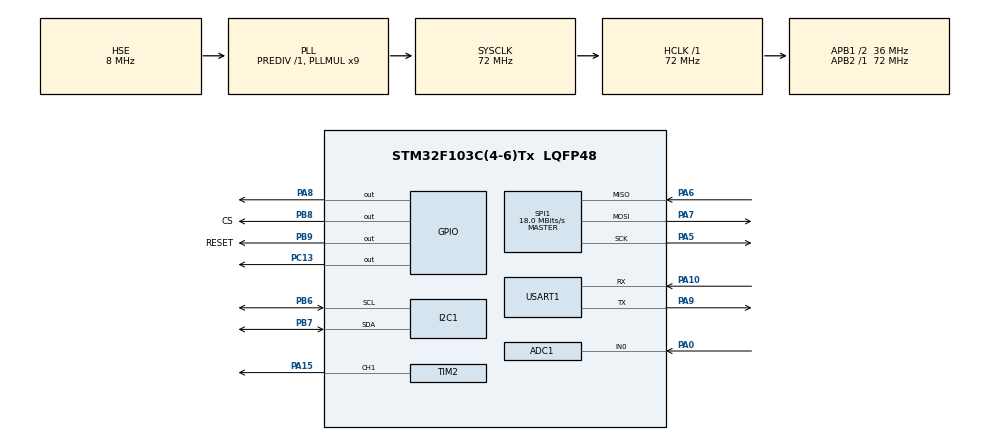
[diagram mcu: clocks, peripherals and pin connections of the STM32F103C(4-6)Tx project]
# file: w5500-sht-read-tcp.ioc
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ADC1.Channel-15\#ChannelRegularConversion=ADC_CHANNEL_0
ADC1.NbrOfConversionFlag=1
ADC1.Rank-15\#ChannelRegularConversion=1
ADC1.SamplingTime-15\#ChannelRegularConversion=ADC_SAMPLETIME_1CYCLE_5
ADC1.master=1
Mcu.Family=STM32F1
Mcu.Name=STM32F103C(4-6)Tx
Mcu.Package=LQFP48
NVIC.PriorityGroup=NVIC_PRIORITYGROUP_4
PA0-WKUP.Signal=ADCx_IN0
PA10.Mode=Asynchronous
PA10.Signal=USART1_RX
PA13.Mode=Serial_Wire
PA13.Signal=SYS_JTMS-SWDIO
PA14.Mode=Serial_Wire
PA14.Signal=SYS_JTCK-SWCLK
PA15.Signal=S_TIM2_CH1_ETR
PA5.Mode=Full_Duplex_Master
PA5.Signal=SPI1_SCK
PA6.Mode=Full_Duplex_Master
PA6.Signal=SPI1_MISO
PA7.Mode=Full_Duplex_Master
PA7.Signal=SPI1_MOSI
PA8.Signal=GPIO_Output
PA9.Mode=Asynchronous
PA9.Signal=USART1_TX
PB6.Mode=I2C
PB6.Signal=I2C1_SCL
PB7.Mode=I2C
PB7.Signal=I2C1_SDA
PB8.GPIO_Label=CS
PB8.GPIO_Speed=GPIO_SPEED_FREQ_HIGH
PB8.PinState=GPIO_PIN_SET
PB8.Signal=GPIO_Output
PB9.GPIO_Label=RESET
PB9.GPIO_Speed=GPIO_SPEED_FREQ_HIGH
PB9.PinState=GPIO_PIN_SET
PB9.Signal=GPIO_Output
PC13-TAMPER-RTC.Signal=GPIO_Output
PC14-OSC32_IN.Mode=LSE-External-Oscillator
PC14-OSC32_IN.Signal=RCC_OSC32_IN
PC15-OSC32_OUT.Mode=LSE-External-Oscillator
PC15-OSC32_OUT.Signal=RCC_OSC32_OUT
PD0-OSC_IN.Mode=HSE-External-Oscillator
PD0-OSC_IN.Signal=RCC_OSC_IN
PD1-OSC_OUT.Mode=HSE-External-Oscillator
PD1-OSC_OUT.Signal=RCC_OSC_OUT
ProjectManager.HeapSize=0x200
ProjectManager.StackSize=0x400
ProjectManager.TargetToolchain=STM32CubeIDE
RCC.ADCPresc=RCC_ADCPCLK2_DIV6
RCC.AHBFreq_Value=72000000
RCC.APB1CLKDivider=RCC_HCLK_DIV2
RCC.APB1Freq_Value=36000000
RCC.APB1TimFreq_Value=72000000
RCC.APB2Freq_Value=72000000
RCC.APB2TimFreq_Value=72000000
RCC.HCLKFreq_Value=72000000
RCC.PLLMUL=RCC_PLL_MUL9
RCC.PLLSourceVirtual=RCC_PLLSOURCE_HSE
RCC.SYSCLKFreq_VALUE=72000000
RCC.SYSCLKSource=RCC_SYSCLKSOURCE_PLLCLK
RCC.USBFreq_Value=72000000
SH.ADCx_IN0.0=ADC1_IN0,IN0
SH.S_TIM2_CH1_ETR.0=TIM2_CH1,PWM Generation1 CH1
SPI1.BaudRatePrescaler=SPI_BAUDRATEPRESCALER_4
SPI1.CalculateBaudRate=18.0 MBits/s
SPI1.Direction=SPI_DIRECTION_2LINES
SPI1.Mode=SPI_MODE_MASTER
SPI1.VirtualType=VM_MASTER
TIM2.Channel-PWM\ Generation1\ CH1=TIM_CHANNEL_1
USART1.VirtualMode=VM_ASYNC
VP_TIM2_VS_ClockSourceINT.Mode=Internal
board=custom

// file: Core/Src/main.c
/* USER CODE BEGIN Header */
/**
  ******************************************************************************
  * @file           : main.c
  * @brief          : Main program body
  ******************************************************************************
  */
/* USER CODE END Header */

#include "main.h"
#include "wizchip_port.h"
#include "MQTT_Example.h"

#include <stdio.h>
#include <string.h>

/* USER CODE BEGIN PD */

#define RF_DATA_Pin               GPIO_PIN_8
#define RF_DATA_GPIO_Port         GPIOA

#define RF_BIT_US                 300
#define RF_PAUSE_US               10836
#define RF_FRAME_COUNT            5

#define TOPIC_CMD                 "WO/08/mezanin/micro/pintu_depan/cmnd/power"
#define TOPIC_IP                  "WO/08/mezanin/micro/pintu_depan/IP"
#define TOPIC_LWT                 "WO/08/mezanin/micro/pintu_depan/availability"

/* USER CODE END PD */

ADC_HandleTypeDef hadc1;
I2C_HandleTypeDef hi2c1;
SPI_HandleTypeDef hspi1;
TIM_HandleTypeDef htim2;
UART_HandleTypeDef huart1;

/* USER CODE BEGIN PV */

/*
 * RF CODE A
 */
static const char *RF_CODE_A[RF_FRAME_COUNT] =
{
    "110111010001000111011101000111010001000100011101110100011101110111011101101000100010001000111010",

    "110111010001000111011101000111010001000100011101110100011101110111011101101000100010001000111010",

    "110111010001000111011101000111010001000100011101110100011101110111011101101000100010001000111010",

    "110111010001000111011101000111010001000100011101110100011101110111011101101000100010001000111010",

    "110111010001000111011101000111010001000100011101110100011101110111011101101000100010001000111010"
};

/*
 * RF CODE B
 */
static const char *RF_CODE_B[RF_FRAME_COUNT] =
{
    "1110111010001000111011101000111010001000100011101110100011101110111011101110100010001000111010001",

    "1110111010001000111011101000111010001000100011101110100011101110111011101110100010001000111010001",

    "1110111010001000111011101000111010001000100011101110100011101110111011101110100010001000111010001",

    "1110111010001000111011101000111010001000100011101110100011101110111011101110100010001000111010001",

    "1110111010001000111011101000111010001000100011101110100011101110111011101110100010001000111010001"
};

/* USER CODE END PV */

void SystemClock_Config(void);

static void MX_GPIO_Init(void);
static void MX_USART1_UART_Init(void);
static void MX_ADC1_Init(void);
static void MX_TIM2_Init(void);
static void MX_SPI1_Init(void);
static void MX_I2C1_Init(void);

/* USER CODE BEGIN PFP */

static void DWT_Delay_Init(void);
static void DWT_Delay_us(uint32_t us);

static void RF_SendBit(uint8_t bit);
static void RF_SendPattern(const char *pattern);

void RF_SendA(void);
void RF_SendB(void);

void RF_ProcessCommand(
    const char *topic,
    const char *payload
);

void led_Control(int state);

/* USER CODE END PFP */

/* USER CODE BEGIN 0 */

/*
 * DWT delay initialization
 */
static void DWT_Delay_Init(void)
{
    CoreDebug->DEMCR |=
        CoreDebug_DEMCR_TRCENA_Msk;

    DWT->CYCCNT = 0;

    DWT->CTRL |=
        DWT_CTRL_CYCCNTENA_Msk;
}

/*
 * Microsecond delay
 */
static void DWT_Delay_us(uint32_t us)
{
    uint32_t start =
        DWT->CYCCNT;

    uint32_t cycles =
        us *
        (HAL_RCC_GetHCLKFreq() / 1000000U);

    while (
        (DWT->CYCCNT - start) <
        cycles
    )
    {
    }
}

/*
 * RF send bit
 */
static void RF_SendBit(uint8_t bit)
{
    if (bit)
    {
        RF_DATA_GPIO_Port->BSRR =
            RF_DATA_Pin;
    }
    else
    {
        RF_DATA_GPIO_Port->BRR =
            RF_DATA_Pin;
    }

    DWT_Delay_us(
        RF_BIT_US
    );
}

/*
 * RF send pattern
 */
static void RF_SendPattern(
    const char *pattern
)
{
    while (*pattern)
    {
        RF_SendBit(
            *pattern == '1'
        );

        pattern++;
    }

    RF_DATA_GPIO_Port->BRR =
        RF_DATA_Pin;

    DWT_Delay_us(
        RF_PAUSE_US
    );
}

/*
 * Send RF CODE A
 */
void RF_SendA(void)
{
    printf(
        "RF: Sending CODE A\r\n"
    );

    for (
        uint8_t i = 0;
        i < RF_FRAME_COUNT;
        i++
    )
    {
        RF_SendPattern(
            RF_CODE_A[i]
        );
    }

    RF_DATA_GPIO_Port->BRR =
        RF_DATA_Pin;

    printf(
        "RF: CODE A complete\r\n"
    );

    HAL_GPIO_TogglePin(
        GPIOC,
        GPIO_PIN_13
    );
}

/*
 * Send RF CODE B
 */
void RF_SendB(void)
{
    printf(
        "RF: Sending CODE B\r\n"
    );

    for (
        uint8_t i = 0;
        i < RF_FRAME_COUNT;
        i++
    )
    {
        RF_SendPattern(
            RF_CODE_B[i]
        );
    }

    RF_DATA_GPIO_Port->BRR =
        RF_DATA_Pin;

    printf(
        "RF: CODE B complete\r\n"
    );
}

/*
 * Process MQTT command
 *
 * WO/08/Door/cmd
 *
 * Payload:
 *
 * 1 = RF CODE A
 * 0 = RF CODE B
 */
void RF_ProcessCommand(
    const char *topic,
    const char *payload
)
{
    printf(
        "RF COMMAND\r\n"
    );

    printf(
        "Topic   : %s\r\n",
        topic
    );

    printf(
        "Payload : %s\r\n",
        payload
    );

    if (
        strcmp(
            payload,
            "on"
        ) == 0
    )
    {
        RF_SendA();

        return;
    }

    if (
        strcmp(
            payload,
            "off"
        ) == 0
    )
    {
        RF_SendB();

        return;
    }

    printf(
        "RF: Invalid command\r\n"
    );
}

/*
 * LED control
 *
 * PC13 active LOW
 */
void led_Control(int state)
{
    if (state)
    {
        HAL_GPIO_WritePin(
            GPIOC,
            GPIO_PIN_13,
            GPIO_PIN_RESET
        );
    }
    else
    {
        HAL_GPIO_WritePin(
            GPIOC,
            GPIO_PIN_13,
            GPIO_PIN_SET
        );
    }
}

/* USER CODE END 0 */

int main(void)
{

    /* MCU Configuration--------------------------------------------------------*/

    HAL_Init();

    SystemClock_Config();

    /* Initialize all configured peripherals */

    MX_GPIO_Init();

    MX_USART1_UART_Init();

    MX_ADC1_Init();

    MX_TIM2_Init();

    MX_SPI1_Init();

    MX_I2C1_Init();

    /* USER CODE BEGIN 2 */

    printf(
        "\r\n================================\r\n"
    );

    printf(
        " STM32F103 MQTT + RF SYSTEM\r\n"
    );

    printf(
        "================================\r\n"
    );

    /*
     * Start TIM2 PWM
     */
    HAL_TIM_PWM_Start(
        &htim2,
        TIM_CHANNEL_1
    );

    /*
     * ADC calibration
     */
    HAL_ADCEx_Calibration_Start(
        &hadc1
    );

    /*
     * Initialize DWT
     */
    DWT_Delay_Init();

    /*
     * RF output LOW
     */
    HAL_GPIO_WritePin(
        RF_DATA_GPIO_Port,
        RF_DATA_Pin,
        GPIO_PIN_RESET
    );

    /*
     * Initialize W5500
     */
    printf(
        "W5500: Initializing...\r\n"
    );

    W5500_Init();

    printf(
        "W5500: Initialization complete\r\n"
    );

    /*
     * Initialize MQTT TCP connection
     */
    if (
        mqtt_network_init() != 0
    )
    {
        printf(
            "MQTT: Network initialization failed\r\n"
        );
    }
    else
    {
        /*
         * Connect MQTT broker
         */
        if (
            mqtt_connect_broker() == 0
        )
        {
            /*
             * Subscribe CMD FIRST
             */
            if (
                mqtt_subscribe(
                    TOPIC_CMD
                ) == 0
            )
            {
                printf(
                    "MQTT: CMD subscription OK\r\n"
                );

                /*
                 * Publish STM32 IP
                 */
                mqtt_publish_ip(
                    TOPIC_IP
                );

                /*
                 * Give broker time to finish subscribe
                 */
                HAL_Delay(100);

                /*
                 * Automatic test command
                 *
                 * 1 = RF CODE A
                 *
                 * This is NOT retained.
                 */
                printf(
                    "MQTT: Publishing automatic CMD = 1\r\n"
                );

                mqtt_publish(
                    TOPIC_CMD,
                    "1"
                );
            }
            else
            {
                printf(
                    "MQTT: CMD subscription FAILED\r\n"
                );
            }

            printf(
                "MQTT: System ready\r\n"
            );
        }
        else
        {
            printf(
                "MQTT: Broker connection failed\r\n"
            );
        }
    }

    /* USER CODE END 2 */

    /* Infinite loop */

    /* USER CODE BEGIN WHILE */

    while (1)
    {
        /*
         * MQTT processing
         */
        mqtt_yield();

        /*
         * Small delay
         */
        HAL_Delay(10);

        /* USER CODE END WHILE */

    }
}

void SystemClock_Config(void)
{
    RCC_OscInitTypeDef RCC_OscInitStruct =
        {0};

    RCC_ClkInitTypeDef RCC_ClkInitStruct =
        {0};

    RCC_PeriphCLKInitTypeDef PeriphClkInit =
        {0};

    /*
     * Initializes the RCC Oscillators
     */
    RCC_OscInitStruct.OscillatorType =
        RCC_OSCILLATORTYPE_HSE;

    RCC_OscInitStruct.HSEState =
        RCC_HSE_ON;

    RCC_OscInitStruct.HSEPredivValue =
        RCC_HSE_PREDIV_DIV1;

    RCC_OscInitStruct.HSIState =
        RCC_HSI_ON;

    RCC_OscInitStruct.PLL.PLLState =
        RCC_PLL_ON;

    RCC_OscInitStruct.PLL.PLLSource =
        RCC_PLLSOURCE_HSE;

    RCC_OscInitStruct.PLL.PLLMUL =
        RCC_PLL_MUL9;

    if (
        HAL_RCC_OscConfig(
            &RCC_OscInitStruct
        ) != HAL_OK
    )
    {
        Error_Handler();
    }

    /*
     * Initializes the CPU, AHB and APB buses
     */
    RCC_ClkInitStruct.ClockType =
        RCC_CLOCKTYPE_HCLK |
        RCC_CLOCKTYPE_SYSCLK |
        RCC_CLOCKTYPE_PCLK1 |
        RCC_CLOCKTYPE_PCLK2;

    RCC_ClkInitStruct.SYSCLKSource =
        RCC_SYSCLKSOURCE_PLLCLK;

    RCC_ClkInitStruct.AHBCLKDivider =
        RCC_SYSCLK_DIV1;

    RCC_ClkInitStruct.APB1CLKDivider =
        RCC_HCLK_DIV2;

    RCC_ClkInitStruct.APB2CLKDivider =
        RCC_HCLK_DIV1;

    if (
        HAL_RCC_ClockConfig(
            &RCC_ClkInitStruct,
            FLASH_LATENCY_2
        ) != HAL_OK
    )
    {
        Error_Handler();
    }

    PeriphClkInit.PeriphClockSelection =
        RCC_PERIPHCLK_ADC;

    PeriphClkInit.AdcClockSelection =
        RCC_ADCPCLK2_DIV6;

    if (
        HAL_RCCEx_PeriphCLKConfig(
            &PeriphClkInit
        ) != HAL_OK
    )
    {
        Error_Handler();
    }
}

static void MX_ADC1_Init(void)
{
    ADC_ChannelConfTypeDef sConfig =
        {0};

    hadc1.Instance =
        ADC1;

    hadc1.Init.ScanConvMode =
        ADC_SCAN_DISABLE;

    hadc1.Init.ContinuousConvMode =
        DISABLE;

    hadc1.Init.DiscontinuousConvMode =
        DISABLE;

    hadc1.Init.ExternalTrigConv =
        ADC_SOFTWARE_START;

    hadc1.Init.DataAlign =
        ADC_DATAALIGN_RIGHT;

    hadc1.Init.NbrOfConversion =
        1;

    if (
        HAL_ADC_Init(
            &hadc1
        ) != HAL_OK
    )
    {
        Error_Handler();
    }

    sConfig.Channel =
        ADC_CHANNEL_0;

    sConfig.Rank =
        ADC_REGULAR_RANK_1;

    sConfig.SamplingTime =
        ADC_SAMPLETIME_1CYCLE_5;

    if (
        HAL_ADC_ConfigChannel(
            &hadc1,
            &sConfig
        ) != HAL_OK
    )
    {
        Error_Handler();
    }
}

static void MX_I2C1_Init(void)
{
    hi2c1.Instance =
        I2C1;

    hi2c1.Init.ClockSpeed =
        100000;

    hi2c1.Init.DutyCycle =
        I2C_DUTYCYCLE_2;

    hi2c1.Init.OwnAddress1 =
        0;

    hi2c1.Init.AddressingMode =
        I2C_ADDRESSINGMODE_7BIT;

    hi2c1.Init.DualAddressMode =
        I2C_DUALADDRESS_DISABLE;

    hi2c1.Init.OwnAddress2 =
        0;

    hi2c1.Init.GeneralCallMode =
        I2C_GENERALCALL_DISABLE;

    hi2c1.Init.NoStretchMode =
        I2C_NOSTRETCH_DISABLE;

    if (
        HAL_I2C_Init(
            &hi2c1
        ) != HAL_OK
    )
    {
        Error_Handler();
    }
}

static void MX_SPI1_Init(void)
{
    hspi1.Instance =
        SPI1;

    hspi1.Init.Mode =
        SPI_MODE_MASTER;

    hspi1.Init.Direction =
        SPI_DIRECTION_2LINES;

    hspi1.Init.DataSize =
        SPI_DATASIZE_8BIT;

    hspi1.Init.CLKPolarity =
        SPI_POLARITY_LOW;

    hspi1.Init.CLKPhase =
        SPI_PHASE_1EDGE;

    hspi1.Init.NSS =
        SPI_NSS_SOFT;

    hspi1.Init.BaudRatePrescaler =
        SPI_BAUDRATEPRESCALER_4;

    hspi1.Init.FirstBit =
        SPI_FIRSTBIT_MSB;

    hspi1.Init.TIMode =
        SPI_TIMODE_DISABLE;

    hspi1.Init.CRCCalculation =
        SPI_CRCCALCULATION_DISABLE;

    hspi1.Init.CRCPolynomial =
        10;

    if (
        HAL_SPI_Init(
            &hspi1
        ) != HAL_OK
    )
    {
        Error_Handler();
    }
}

static void MX_TIM2_Init(void)
{
    TIM_MasterConfigTypeDef sMasterConfig =
        {0};

    TIM_OC_InitTypeDef sConfigOC =
        {0};

    htim2.Instance =
        TIM2;

    htim2.Init.Prescaler =
        0;

    htim2.Init.CounterMode =
        TIM_COUNTERMODE_UP;

    htim2.Init.Period =
        65535;

    htim2.Init.ClockDivision =
        TIM_CLOCKDIVISION_DIV1;

    htim2.Init.AutoReloadPreload =
        TIM_AUTORELOAD_PRELOAD_DISABLE;

    if (
        HAL_TIM_PWM_Init(
            &htim2
        ) != HAL_OK
    )
    {
        Error_Handler();
    }

    sMasterConfig.MasterOutputTrigger =
        TIM_TRGO_RESET;

    sMasterConfig.MasterSlaveMode =
        TIM_MASTERSLAVEMODE_DISABLE;

    if (
        HAL_TIMEx_MasterConfigSynchronization(
            &htim2,
            &sMasterConfig
        ) != HAL_OK
    )
    {
        Error_Handler();
    }

    sConfigOC.OCMode =
        TIM_OCMODE_PWM1;

    sConfigOC.Pulse =
        0;

    sConfigOC.OCPolarity =
        TIM_OCPOLARITY_HIGH;

    sConfigOC.OCFastMode =
        TIM_OCFAST_DISABLE;

    if (
        HAL_TIM_PWM_ConfigChannel(
            &htim2,
            &sConfigOC,
            TIM_CHANNEL_1
        ) != HAL_OK
		)
    {
        Error_Handler();
    }

    HAL_TIM_MspPostInit(
        &htim2
    );
}

static void MX_USART1_UART_Init(void)
{
    huart1.Instance =
        USART1;

    huart1.Init.BaudRate =
        115200;

    huart1.Init.WordLength =
        UART_WORDLENGTH_8B;

    huart1.Init.StopBits =
        UART_STOPBITS_1;

    huart1.Init.Parity =
        UART_PARITY_NONE;

    huart1.Init.Mode =
        UART_MODE_TX_RX;

    huart1.Init.HwFlowCtl =
        UART_HWCONTROL_NONE;

    huart1.Init.OverSampling =
        UART_OVERSAMPLING_16;

    if (
        HAL_UART_Init(
            &huart1
        ) != HAL_OK
    )
    {
        Error_Handler();
    }
}

static void MX_GPIO_Init(void)
{
    GPIO_InitTypeDef GPIO_InitStruct =
        {0};

    /*
     * GPIO clocks
     */
    __HAL_RCC_GPIOC_CLK_ENABLE();
    __HAL_RCC_GPIOD_CLK_ENABLE();
    __HAL_RCC_GPIOA_CLK_ENABLE();
    __HAL_RCC_GPIOB_CLK_ENABLE();

    /*
     * Initial output states
     */

    /*
     * PC13
     */
    HAL_GPIO_WritePin(
        GPIOC,
        GPIO_PIN_13,
        GPIO_PIN_RESET
    );

    /*
     * PA8 RF
     */
    HAL_GPIO_WritePin(
        GPIOA,
        GPIO_PIN_8,
        GPIO_PIN_RESET
    );

    /*
     * W5500 CS + RESET
     */
    HAL_GPIO_WritePin(
        GPIOB,
        CS_Pin |
        RESET_Pin,
        GPIO_PIN_SET
    );

    /*
     * PC13 LED
     */
    GPIO_InitStruct.Pin =
        GPIO_PIN_13;

    GPIO_InitStruct.Mode =
        GPIO_MODE_OUTPUT_PP;

    GPIO_InitStruct.Pull =
        GPIO_NOPULL;

    GPIO_InitStruct.Speed =
        GPIO_SPEED_FREQ_LOW;

    HAL_GPIO_Init(
        GPIOC,
        &GPIO_InitStruct
    );

    /*
     * PA8 RF DATA
     */
    GPIO_InitStruct.Pin =
        GPIO_PIN_8;

    GPIO_InitStruct.Mode =
        GPIO_MODE_OUTPUT_PP;

    GPIO_InitStruct.Pull =
        GPIO_NOPULL;

    GPIO_InitStruct.Speed =
        GPIO_SPEED_FREQ_HIGH;

    HAL_GPIO_Init(
        GPIOA,
        &GPIO_InitStruct
    );

    /*
     * W5500 CS + RESET
     */
    GPIO_InitStruct.Pin =
        CS_Pin |
        RESET_Pin;

    GPIO_InitStruct.Mode =
        GPIO_MODE_OUTPUT_PP;

    GPIO_InitStruct.Pull =
        GPIO_NOPULL;

    GPIO_InitStruct.Speed =
        GPIO_SPEED_FREQ_HIGH;

    HAL_GPIO_Init(
        GPIOB,
        &GPIO_InitStruct
    );
}

void Error_Handler(void)
{
    __disable_irq();

    while (1)
    {
    }
}
